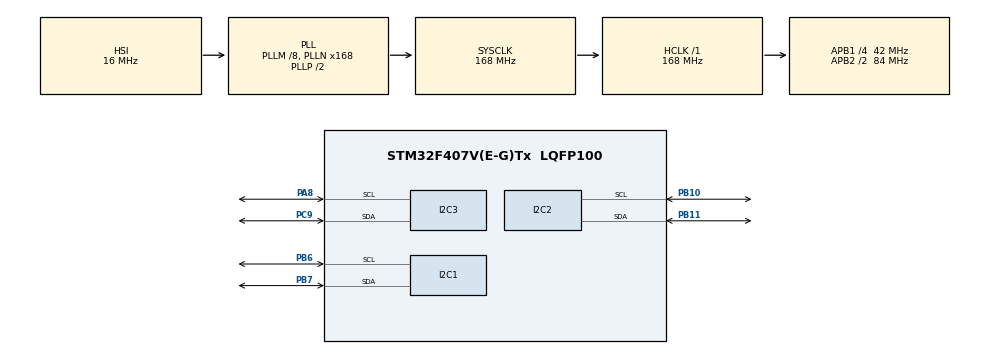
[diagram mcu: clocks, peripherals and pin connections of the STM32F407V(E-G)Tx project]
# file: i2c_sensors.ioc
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Mcu.Family=STM32F4
Mcu.Name=STM32F407V(E-G)Tx
Mcu.Package=LQFP100
NVIC.PriorityGroup=NVIC_PRIORITYGROUP_4
PA8.Mode=I2C
PA8.Signal=I2C3_SCL
PB10.Mode=I2C
PB10.Signal=I2C2_SCL
PB11.Mode=I2C
PB11.Signal=I2C2_SDA
PB6.Mode=I2C
PB6.Signal=I2C1_SCL
PB7.Mode=I2C
PB7.Signal=I2C1_SDA
PC9.Mode=I2C
PC9.Signal=I2C3_SDA
PH0-OSC_IN.Mode=HSE-External-Oscillator
PH0-OSC_IN.Signal=RCC_OSC_IN
PH1-OSC_OUT.Mode=HSE-External-Oscillator
PH1-OSC_OUT.Signal=RCC_OSC_OUT
ProjectManager.HeapSize=0x200
ProjectManager.StackSize=0x400
ProjectManager.TargetToolchain=STM32CubeIDE
RCC.48MHZClocksFreq_Value=84000000
RCC.AHBFreq_Value=168000000
RCC.APB1CLKDivider=RCC_HCLK_DIV4
RCC.APB1Freq_Value=42000000
RCC.APB1TimFreq_Value=84000000
RCC.APB2CLKDivider=RCC_HCLK_DIV2
RCC.APB2Freq_Value=84000000
RCC.APB2TimFreq_Value=168000000
RCC.CortexFreq_Value=168000000
RCC.HCLKFreq_Value=168000000
RCC.HSE_VALUE=25000000
RCC.HSI_VALUE=16000000
RCC.LSE_VALUE=32768
RCC.PLLM=8
RCC.PLLN=168
RCC.SYSCLKFreq_VALUE=168000000
RCC.SYSCLKSource=RCC_SYSCLKSOURCE_PLLCLK
RCC.VCOOutputFreq_Value=336000000
board=custom

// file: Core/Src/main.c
/* USER CODE BEGIN Header */
/**
  ******************************************************************************
  * @file           : main.c
  * @brief          : Main program body
  ******************************************************************************
  * @attention
  *
  * Copyright (c) 2024 STMicroelectronics.
  * All rights reserved.
  *
  * This software is licensed under terms that can be found in the LICENSE file
  * in the root directory of this software component.
  * If no LICENSE file comes with this software, it is provided AS-IS.
  *
  ******************************************************************************
  */
/* USER CODE END Header */
#include "main.h"

/* USER CODE BEGIN Includes */

#include "bh1750.h"
#include "BMP180.h"

/* USER CODE END Includes */

I2C_HandleTypeDef hi2c1;
I2C_HandleTypeDef hi2c2;
I2C_HandleTypeDef hi2c3;

/* USER CODE BEGIN PV */

float BH1750_lux1;
float BH1750_lux2;
float sicaklik;

/* USER CODE END PV */

void SystemClock_Config(void);
static void MX_GPIO_Init(void);
static void MX_I2C1_Init(void);
static void MX_I2C2_Init(void);
static void MX_I2C3_Init(void);

int main(void)
{

  /* MCU Configuration--------------------------------------------------------*/

  /* Reset of all peripherals, Initializes the Flash interface and the Systick. */

	HAL_Init();

  /* Configure the system clock */
  SystemClock_Config();

  /* Initialize all configured peripherals */
  MX_GPIO_Init();
  MX_I2C1_Init();
  MX_I2C2_Init();
  MX_I2C3_Init();
  /* USER CODE BEGIN 2 */

  BH1750_Init(&hi2c1);
  BH1750_SetMode(&hi2c1, CONTINUOUS_HIGH_RES_MODE_2);
  BH1750_Init(&hi2c2);
  BH1750_SetMode(&hi2c2, CONTINUOUS_HIGH_RES_MODE_2);
  BMP180_Baslat();

  /* USER CODE END 2 */

  /* Infinite loop */
  while (1)
  {

    /* USER CODE BEGIN 3 */

	  BH1750_ReadLight(&hi2c1, &BH1750_lux1);
	  HAL_GPIO_TogglePin(GPIOD, GPIO_PIN_12 | GPIO_PIN_13 | GPIO_PIN_14 | GPIO_PIN_15 );
	  BH1750_ReadLight(&hi2c2, &BH1750_lux2);
	  sicaklik = BMP180_Sicaklik_Okuma();
	  HAL_Delay(300);
  }
  /* USER CODE END 3 */
}

void SystemClock_Config(void)
{
  RCC_OscInitTypeDef RCC_OscInitStruct = {0};
  RCC_ClkInitTypeDef RCC_ClkInitStruct = {0};

  /** Configure the main internal regulator output voltage
  */
  __HAL_RCC_PWR_CLK_ENABLE();
  __HAL_PWR_VOLTAGESCALING_CONFIG(PWR_REGULATOR_VOLTAGE_SCALE1);

  /** Initializes the RCC Oscillators according to the specified parameters
  * in the RCC_OscInitTypeDef structure.
  */
  RCC_OscInitStruct.OscillatorType = RCC_OSCILLATORTYPE_HSI;
  RCC_OscInitStruct.HSIState = RCC_HSI_ON;
  RCC_OscInitStruct.HSICalibrationValue = RCC_HSICALIBRATION_DEFAULT;
  RCC_OscInitStruct.PLL.PLLState = RCC_PLL_ON;
  RCC_OscInitStruct.PLL.PLLSource = RCC_PLLSOURCE_HSI;
  RCC_OscInitStruct.PLL.PLLM = 8;
  RCC_OscInitStruct.PLL.PLLN = 168;
  RCC_OscInitStruct.PLL.PLLP = RCC_PLLP_DIV2;
  RCC_OscInitStruct.PLL.PLLQ = 4;
  if (HAL_RCC_OscConfig(&RCC_OscInitStruct) != HAL_OK)
  {
    Error_Handler();
  }

  /** Initializes the CPU, AHB and APB buses clocks
  */
  RCC_ClkInitStruct.ClockType = RCC_CLOCKTYPE_HCLK|RCC_CLOCKTYPE_SYSCLK
                              |RCC_CLOCKTYPE_PCLK1|RCC_CLOCKTYPE_PCLK2;
  RCC_ClkInitStruct.SYSCLKSource = RCC_SYSCLKSOURCE_PLLCLK;
  RCC_ClkInitStruct.AHBCLKDivider = RCC_SYSCLK_DIV1;
  RCC_ClkInitStruct.APB1CLKDivider = RCC_HCLK_DIV4;
  RCC_ClkInitStruct.APB2CLKDivider = RCC_HCLK_DIV2;

  if (HAL_RCC_ClockConfig(&RCC_ClkInitStruct, FLASH_LATENCY_5) != HAL_OK)
  {
    Error_Handler();
  }
}

static void MX_I2C1_Init(void)
{

  hi2c1.Instance = I2C1;
  hi2c1.Init.ClockSpeed = 100000;
  hi2c1.Init.DutyCycle = I2C_DUTYCYCLE_2;
  hi2c1.Init.OwnAddress1 = 0;
  hi2c1.Init.AddressingMode = I2C_ADDRESSINGMODE_7BIT;
  hi2c1.Init.DualAddressMode = I2C_DUALADDRESS_DISABLE;
  hi2c1.Init.OwnAddress2 = 0;
  hi2c1.Init.GeneralCallMode = I2C_GENERALCALL_DISABLE;
  hi2c1.Init.NoStretchMode = I2C_NOSTRETCH_DISABLE;
  if (HAL_I2C_Init(&hi2c1) != HAL_OK)
  {
    Error_Handler();
  }

}

static void MX_I2C2_Init(void)
{

  hi2c2.Instance = I2C2;
  hi2c2.Init.ClockSpeed = 100000;
  hi2c2.Init.DutyCycle = I2C_DUTYCYCLE_2;
  hi2c2.Init.OwnAddress1 = 0;
  hi2c2.Init.AddressingMode = I2C_ADDRESSINGMODE_7BIT;
  hi2c2.Init.DualAddressMode = I2C_DUALADDRESS_DISABLE;
  hi2c2.Init.OwnAddress2 = 0;
  hi2c2.Init.GeneralCallMode = I2C_GENERALCALL_DISABLE;
  hi2c2.Init.NoStretchMode = I2C_NOSTRETCH_DISABLE;
  if (HAL_I2C_Init(&hi2c2) != HAL_OK)
  {
    Error_Handler();
  }

}

static void MX_I2C3_Init(void)
{

  hi2c3.Instance = I2C3;
  hi2c3.Init.ClockSpeed = 100000;
  hi2c3.Init.DutyCycle = I2C_DUTYCYCLE_2;
  hi2c3.Init.OwnAddress1 = 0;
  hi2c3.Init.AddressingMode = I2C_ADDRESSINGMODE_7BIT;
  hi2c3.Init.DualAddressMode = I2C_DUALADDRESS_DISABLE;
  hi2c3.Init.OwnAddress2 = 0;
  hi2c3.Init.GeneralCallMode = I2C_GENERALCALL_DISABLE;
  hi2c3.Init.NoStretchMode = I2C_NOSTRETCH_DISABLE;
  if (HAL_I2C_Init(&hi2c3) != HAL_OK)
  {
    Error_Handler();
  }

}

static void MX_GPIO_Init(void)
{

  /* GPIO Ports Clock Enable */
  __HAL_RCC_GPIOH_CLK_ENABLE();
  __HAL_RCC_GPIOB_CLK_ENABLE();
  __HAL_RCC_GPIOC_CLK_ENABLE();
  __HAL_RCC_GPIOA_CLK_ENABLE();

}

void Error_Handler(void)
{
  __disable_irq();
  while (1)
  {
  }
}
